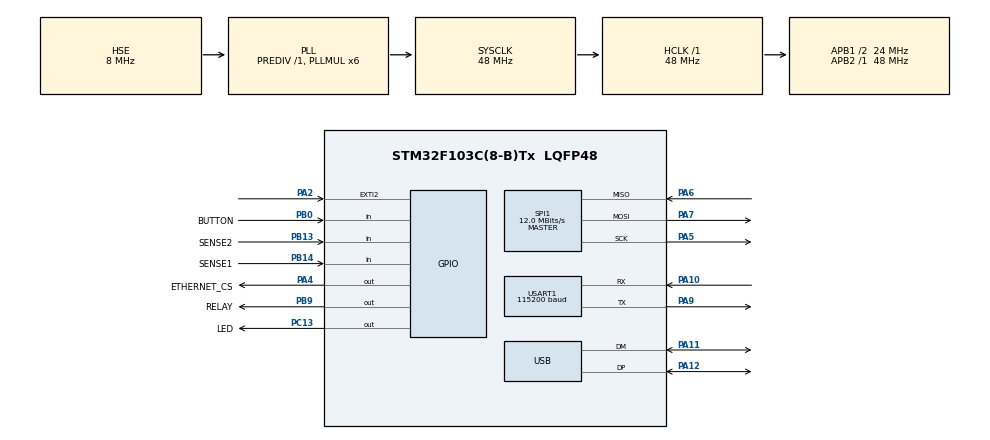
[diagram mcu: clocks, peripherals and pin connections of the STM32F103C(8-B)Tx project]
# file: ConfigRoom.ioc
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Mcu.Family=STM32F1
Mcu.Name=STM32F103C(8-B)Tx
Mcu.Package=LQFP48
NVIC.EXTI2_IRQn=true\:0\:0\:false\:false\:true\:true
NVIC.PriorityGroup=NVIC_PRIORITYGROUP_4
NVIC.TIM1_UP_IRQn=true\:0\:0\:false\:false\:true\:true
NVIC.TIM2_IRQn=true\:0\:0\:false\:false\:true\:true
NVIC.USART1_IRQn=true\:0\:0\:false\:false\:true\:true
NVIC.USB_LP_CAN1_RX0_IRQn=true\:0\:0\:false\:false\:true\:false
PA10.Mode=Asynchronous
PA10.Signal=USART1_RX
PA11.Mode=Device
PA11.Signal=USB_DM
PA12.Mode=Device
PA12.Signal=USB_DP
PA13.Mode=Serial_Wire
PA13.Signal=SYS_JTMS-SWDIO
PA14.Mode=Serial_Wire
PA14.Signal=SYS_JTCK-SWCLK
PA2.GPIO_ModeDefaultEXTI=GPIO_MODE_IT_FALLING
PA2.Signal=GPXTI2
PA4.GPIO_Label=ETHERNET_CS
PA4.GPIO_Speed=GPIO_SPEED_FREQ_MEDIUM
PA4.Signal=GPIO_Output
PA5.Mode=Full_Duplex_Master
PA5.Signal=SPI1_SCK
PA6.Mode=Full_Duplex_Master
PA6.Signal=SPI1_MISO
PA7.Mode=Full_Duplex_Master
PA7.Signal=SPI1_MOSI
PA9.Mode=Asynchronous
PA9.Signal=USART1_TX
PB0.GPIO_Label=BUTTON
PB0.GPIO_PuPd=GPIO_PULLUP
PB0.Signal=GPIO_Input
PB13.GPIO_Label=SENSE2
PB13.GPIO_PuPd=GPIO_PULLUP
PB13.Signal=GPIO_Input
PB14.GPIO_Label=SENSE1
PB14.GPIO_PuPd=GPIO_PULLUP
PB14.Signal=GPIO_Input
PB9.GPIO_Label=RELAY
PB9.Signal=GPIO_Output
PC13-TAMPER-RTC.GPIO_Label=LED
PC13-TAMPER-RTC.GPIO_Speed=GPIO_SPEED_FREQ_MEDIUM
PC13-TAMPER-RTC.Signal=GPIO_Output
PD0-OSC_IN.Mode=HSE-External-Oscillator
PD0-OSC_IN.Signal=RCC_OSC_IN
PD1-OSC_OUT.Mode=HSE-External-Oscillator
PD1-OSC_OUT.Signal=RCC_OSC_OUT
ProjectManager.HeapSize=0x200
ProjectManager.StackSize=0x400
ProjectManager.TargetToolchain=TrueSTUDIO
RCC.AHBFreq_Value=48000000
RCC.APB1CLKDivider=RCC_HCLK_DIV2
RCC.APB1Freq_Value=24000000
RCC.APB1TimFreq_Value=48000000
RCC.APB2CLKDivider=RCC_HCLK_DIV1
RCC.APB2Freq_Value=48000000
RCC.APB2TimFreq_Value=48000000
RCC.HCLKFreq_Value=48000000
RCC.OscillatorTypeHSI=RCC_OSCILLATORTYPE_HSI
RCC.PLLMUL=RCC_PLL_MUL6
RCC.PLLSourceVirtual=RCC_PLLSOURCE_HSE
RCC.SYSCLKFreq_VALUE=48000000
RCC.SYSCLKSource=RCC_SYSCLKSOURCE_PLLCLK
RCC.TimSys_Div=SYSTICK_CLKSOURCE_HCLK
RCC.USBFreq_Value=48000000
SPI1.BaudRatePrescaler=SPI_BAUDRATEPRESCALER_4
SPI1.CalculateBaudRate=12.0 MBits/s
SPI1.Direction=SPI_DIRECTION_2LINES
SPI1.Mode=SPI_MODE_MASTER
SPI1.VirtualType=VM_MASTER
TIM1.AutoReloadPreload=TIM_AUTORELOAD_PRELOAD_ENABLE
TIM1.Period=1000
TIM1.Prescaler=48000
TIM1.TIM_MasterOutputTrigger=TIM_TRGO_UPDATE
TIM2.Period=1000
TIM2.Prescaler=39999
TIM2.TIM_MasterOutputTrigger=TIM_TRGO_UPDATE
USART1.BaudRate=115200
USART1.VirtualMode=VM_ASYNC
USB_DEVICE.CLASS_NAME_FS=CDC
USB_DEVICE.VirtualMode=Cdc
USB_DEVICE.VirtualModeFS=Cdc_FS
VP_TIM1_VS_ClockSourceINT.Mode=Internal
VP_TIM2_VS_ClockSourceINT.Mode=Internal
VP_USB_DEVICE_VS_USB_DEVICE_CDC_FS.Mode=CDC_FS
board=ENC28J60_HTTPS

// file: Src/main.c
/**
  ******************************************************************************
  * @file           : main.c
  * @author         : SergikLutsk, dragosha2000@gmx.net
  ******************************************************************************
  *
  * ConfigRoom device
  *
  ******************************************************************************
  */
#include "main.h"
#include "stm32f1xx_hal.h"
#include "usb_device.h"

/* USER CODE BEGIN Includes */
#include "net.h"
#include "enc28j60.h"
#include "dhcp_client.h"
#include "dnslkup.h"
#include "ip_arp_udp_tcp.h"
#include "dnslkup.h"
#include "websrv_help_functions.h"
#include "pgmspace.h"
#include "eeprom.h"
#include "string.h"
#include "hex_utils.h"
/* USER CODE END Includes */

SPI_HandleTypeDef hspi1;

TIM_HandleTypeDef htim1;
TIM_HandleTypeDef htim2;

UART_HandleTypeDef huart1;

/* USER CODE BEGIN PV */
/* Private variables ---------------------------------------------------------*/
#ifdef DHCP
uint8_t rval=0;
static int8_t processing_state=0;
#endif
uint8_t ipaddr[4],gwip[4],dnsip[4],hisip[4],netmask[4],destip[4],mymac[6],destmac[6];
static uint8_t otherside_www_ip[4] = {10,10,0,100}; // will be filled by dnslkup

uint8_t flag[4];
#define flag_use_dhcp flag[0]
#define BUFFER_SIZE 1024
#define MAX_CNT 50
#define TRANS_NUM_GWMAC 1
#define WEBSERVER_VHOST "10.10.0.100"

uint16_t dat_p;
uint16_t p_len;
uint16_t cnt = MAX_CNT-1;
uint8_t lock_status_hw[2];
uint8_t lock_sens[2];
uint8_t sec=0;
uint8_t client_data_ready;
uint8_t net_buf[BUFFER_SIZE+1];
uint8_t gwmac[6];
uint8_t pingsrcip[4];
uint8_t dns_state=0;
uint8_t gw_arp_state=0;
uint8_t start_web_client=0;
uint8_t web_client_attempts=0;
uint8_t urlvarstr[21];// = {"/google.com"};
uint8_t web_client_sendok=0;
//uint8_t syn_ack_timeout;

// default IP data
const uint8_t IPADDR_[4] = {10,10,0,77};
const uint8_t MYMAC_[6] = {0x74,0x69,0x69,0x23,0x30,0x31};
const uint8_t  DESTADDR_[4] = {10,10,0,99};

const uint8_t FLAG_[4] = {0,0,0,0};
const char hoststr[] = {"10.10.0.1"}; //const char website[] PROGMEM = "api-conference-rooms.int-24.com";
const char http_header[] 	= {"HTTP/1.1 200 OK\r\nServer: stm32confroom\r\nContent-Type: text/html\r\nConnection: keep-alive\r\n\r\n"};
const char error_header[] 	= {"HTTP/1.1 404 File not found\r\nServer: stm32confroom\r\nContent-Type: text/html\r\nConnection: keep-alive\r\n\r\n"};
const char lock_on_html[] = {"HTTP/1.1 201 OK\r\nServer: stm32confroom\r\nContent-Type: text/html\r\nConnection: keep-alive\r\n\r\n"
							"<head><h1>LOCK ON</br></br></head>"};
const char lock_off_html[] = {"HTTP/1.1 202 OK\r\nServer: stm32confroom\r\nContent-Type: text/html\r\nConnection: keep-alive\r\n\r\n"
							"<head><h1>LOCK OFF</br></br></head>"};
const char dhcp_page_true[] = {"%s<p><h3><input name='use_dhcp' type='radio' value='0'> use STATIC</h3></p>"
        					   "<p><h3><input name='use_dhcp' type='radio' value='1' checked> use DHCP</h3></p>"
								"<p><input type='submit' value='SAVE'></p>"
								"</form>"
								"</html>"
								"\n\r\n\r"};
const char dhcp_page_false[] = {"%s<p><h3><input name='use_dhcp' type='radio' value='0' checked> use STATIC</h3></p>"
                				"<p><h3><input name='use_dhcp' type='radio' value='1'> use DHCP</h3></p>"
								"<p><input type='submit' value='SAVE'></p>"
								"</body>"
								"</form>"
                				"</html>"
                				"\n\r\n\r"};
const char home_page[] = {"HTTP/1.1 200 OK\r\nServer: nginx\r\nContent-Type: text/html\r\nConnection: keep-alive\r\n\r\n"
						"<form>"
						"<head><h1>ConferenceRoom v2.0 build:140419</br><h2>(c) MINT innovations, 2019</br></br></head>"
						"<body>"
						"<h3>IP:</h3>"
						"<p><input type='text' name='ip0' id='ip1' value='%03u' size=2"
						"<p><input type='text' name='ip1' id='ip2' value='%03u' size=2"
						"<p><input type='text' name='ip2' id='ip3' value='%03u' size=2"
						"<p><input type='text' name='ip3' id='ip4' value='%03u' size=2</p>"
						"<h3>MAC:</h3>"
						"<p><input type='text' name='mac0' id='mac1' value='%02X' size=2"
						"<p><input type='text' name='mac1' id='mac2' value='%02X' size=2"
						"<p><input type='text' name='mac2' id='mac3' value='%02X' size=2"
						"<p><input type='text' name='mac3' id='mac4' value='%02X' size=2"
						"<p><input type='text' name='mac4' id='mac5' value='%02X' size=2"
						"<p><input type='text' name='mac5' id='mac6' value='%02X' size=2</p>"
						"<h3>DEST IP:</h3>"
						"<p><input type='text' name='dip0' id='dip1' value='%03u' size=2"
						"<p><input type='text' name='dip1' id='dip2' value='%03u' size=2"
						"<p><input type='text' name='dip2' id='dip3' value='%03u' size=2"
						"<p><input type='text' name='dip3' id='dip4' value='%03u' size=2</p>"
						"<h3>lock_sens[]={%01u,%01u},lock_status_hw[]={%01u,%01u}</h3>"};
const char Write_page[] = {"HTTP/1.1 202 OK\r\nServer: stm32confroom\r\nContent-Type: text/html\r\nConnection: keep-alive\r\n\r\n"
							"<head><h1>New values stored in MCU memory.</h1>\r\n"
							"<h1>Hardware reset...</h1>\r\n\r\n</br></br></head>"};
/* USER CODE END PV */

void SystemClock_Config(void);
static void MX_GPIO_Init(void);
static void MX_SPI1_Init(void);
static void MX_USART1_UART_Init(void);
static void MX_TIM2_Init(void);
static void MX_TIM1_Init(void);

/* USER CODE BEGIN PFP */
/* Private function prototypes -----------------------------------------------*/
void browserresult_callback(uint16_t webstatuscode,uint16_t datapos __attribute__((unused)), uint16_t len __attribute__((unused)));
uint8_t findKeyVal (char* instr, char *strbuf, uint8_t maxlen, char *key);
void ReadConstantsFromEEP();
void WriteDefaultsToEEP(void);

void HardwareError (float error_num, char infinite) {
	if (infinite)
	while (1) {
		int i = 0;
		while (i++ < ((int)((float)(error_num) / 1) + 1) ) {
			GPIOC->BSRR = LED_Pin;
			HAL_Delay(1000 / error_num);
			GPIOC->BSRR = LED_Pin << 16;
			HAL_Delay(1000 / error_num);
		}
	};

	GPIOC->BSRR = LED_Pin;
	HAL_Delay(1000);
	GPIOC->BSRR = LED_Pin << 16;
	HAL_Delay(100);

	int i=0;
	while (i++ < error_num) {
		GPIOC->BSRR = LED_Pin;
		HAL_Delay(300);
		GPIOC->BSRR = LED_Pin << 16;
		HAL_Delay(200);
	}

	HAL_Delay(500);
	NVIC_SystemReset();

	return;
}

static inline void BlinkLed(int times, int delay) {
	int i = 0;

	while (i++ < times) {
		GPIOC->BSRR = LED_Pin;
		HAL_Delay(delay);
		GPIOC->BSRR = LED_Pin << 16;
		HAL_Delay(delay);
	}

	return;
}

void PrintIP(void) {
	char str[100];
	snprintf(str,sizeof(str),"my ip: %03u.%03u.%03u.%03u\n\r",ipaddr[0],ipaddr[1],ipaddr[2],ipaddr[3]);
	HAL_UART_Transmit(&huart1, (uint8_t*)str, strlen(str), 100);
	snprintf(str,sizeof(str),"dest ip: %03u.%03u.%03u.%03u\n\r",destip[0],destip[1],destip[2],destip[3]);
	HAL_UART_Transmit(&huart1, (uint8_t*)str, strlen(str), 100);
	snprintf(str,sizeof(str),"gw ip: %03u.%03u.%03u.%03u\n\r",gwip[0],gwip[1],gwip[2],gwip[3]);
	HAL_UART_Transmit(&huart1, (uint8_t*)str, strlen(str), 100);
	snprintf(str,sizeof(str),"netmask: %03u.%03u.%03u.%03u\n\r",netmask[0],netmask[1],netmask[2],netmask[3]);
	HAL_UART_Transmit(&huart1, (uint8_t*)str, strlen(str), 100);
}

void LockStatusRead() {
	lock_status_hw[0] = HAL_GPIO_ReadPin(SENSE1_GPIO_Port,SENSE1_Pin);
	lock_status_hw[1] = HAL_GPIO_ReadPin(SENSE2_GPIO_Port,SENSE2_Pin);
	lock_sens[0] = HAL_GPIO_ReadPin(SENSE1_GPIO_Port,SENSE1_Pin);
	lock_sens[1] = HAL_GPIO_ReadPin(SENSE1_GPIO_Port,SENSE1_Pin);
}

void EEpromCheckAndRead(void) {
	char str[30];
	uint32_t data_;

	EE_Read(EEP_CHECK_ADDR,&data_);
	if (data_!= CHECK_DATA) {
		snprintf(str,strlen(str),"EEPROM format and write defaults...\n\r");
		HAL_UART_Transmit(&huart1, (uint8_t*)str, strlen(str), 100);
		EE_Format();
		WriteDefaultsToEEP();
		EE_Write(EEP_CHECK_ADDR,CHECK_DATA);
	 } else {
		 ReadConstantsFromEEP();
	 }
}

void WriteDefaultsToEEP(void) {
	char str[30];
	union {
		uint32_t data32;
		unsigned char data4x8[4];
	} tmp;
	// MAC defaults sets...
	//
	tmp.data4x8[0] = MYMAC_[0];
	tmp.data4x8[1] = MYMAC_[1];
	tmp.data4x8[2] = MYMAC_[2];
	tmp.data4x8[3] = MYMAC_[3];
	EE_Write(EE_MYMAC1,tmp.data32 );
	tmp.data4x8[0] = MYMAC_[4];
	tmp.data4x8[1] = MYMAC_[5];
	tmp.data4x8[2] = 0;
	tmp.data4x8[3] = 0;
	EE_Write(EE_MYMAC2,tmp.data32);

	// IPs defaults sets...
	//
	EE_Write(EE_IPADDR,(uint32_t)(IPADDR_[0] | IPADDR_[1]<<8 | IPADDR_[2]<<16 | IPADDR_[3]<<24) );
	EE_Write(EE_DESTADDR,(uint32_t)(DESTADDR_[0] | DESTADDR_[1]<<8 | DESTADDR_[2]<<16 | DESTADDR_[3]<<24) );

	tmp.data4x8[0] = FLAG_[0];
	tmp.data4x8[1] = FLAG_[1];
	tmp.data4x8[2] = FLAG_[2];
	tmp.data4x8[3] = FLAG_[3];
	EE_Write(EE_FLAGSADDR,tmp.data32);

	snprintf(str,sizeof(str),"EEPROM write defaults OK.\n\r");
	HAL_UART_Transmit(&huart1, (uint8_t*)str, strlen(str), 100);

	ReadConstantsFromEEP();
}
void ReadConstantsFromEEP(void) {
	char str[30];
	uint32_t data_;
	union {
		uint32_t data32;
		unsigned char data4x8[4];
	} tmp;

	EE_Read(EE_IPADDR,&tmp.data32);
	ipaddr[0] = tmp.data4x8[0];
	ipaddr[1] = tmp.data4x8[1];
	ipaddr[2] = tmp.data4x8[2];
	ipaddr[3] = tmp.data4x8[3];

	EE_Read(EE_MYMAC1,&tmp.data32);
	mymac[0] = tmp.data4x8[0];
	mymac[1] = tmp.data4x8[1];
	mymac[2] = tmp.data4x8[2];
	mymac[3] = tmp.data4x8[3];
	EE_Read(EE_MYMAC2,&tmp.data32);
	mymac[4] = tmp.data4x8[0];
	mymac[5] = tmp.data4x8[1];

	EE_Read(EE_DESTADDR,&tmp.data32);
	gwip[0] = otherside_www_ip[0] = destip[0] = tmp.data4x8[0];
	gwip[1] = otherside_www_ip[1] = destip[1] = tmp.data4x8[1];
	gwip[2] = otherside_www_ip[2] = destip[2] = tmp.data4x8[2];
	gwip[3] = otherside_www_ip[3] = destip[3] = tmp.data4x8[3];

	EE_Read(EE_FLAGSADDR,&data_);
	flag_use_dhcp = data_ & 0xFF;
	flag[1] = data_>>8 & 0xFF;
	flag[2] = data_>>16 & 0xFF;
	flag[3] = data_>>24 & 0xFF;

	snprintf(str,sizeof(str),"FLAGS read OK.\n\r");
	HAL_UART_Transmit(&huart1, (uint8_t*)str, strlen(str), 100);
}

uint16_t http200ok(void) {

	return(fill_tcp_data(net_buf,0,"HTTP/1.0 200 OK\r\nContent-Type: text/html\r\nPragma: no-cache\r\n\r\n"));
}

uint16_t HomePage(void) {
  	char temp_str[TEMP_STR_MAX];

  	snprintf(temp_str, sizeof(temp_str),home_page,	ipaddr[0],ipaddr[1],ipaddr[2],ipaddr[3],mymac[0],mymac[1],mymac[2],mymac[3],mymac[4],mymac[5],
													destip[0],destip[1],destip[2],destip[3], lock_sens[0],lock_sens[1],lock_status_hw[0],lock_status_hw[1] );
	if (flag_use_dhcp == 1) snprintf (temp_str,sizeof(temp_str), dhcp_page_true,temp_str);
	else snprintf (temp_str,sizeof(temp_str), dhcp_page_false,temp_str);
	return(fill_tcp_data_p(net_buf,0, temp_str));
}

// we were ping-ed by somebody, store the ip of the ping sender
// and trigger an upload to http://tuxgraphics.org/cgi-bin/upld
// This is just for testing and demonstration purpose
void ping_callback(uint8_t *ip) {
	uint8_t i=0;

	if (start_web_client==0) { // trigger only first time in case we get many ping in a row:
		start_web_client=1;
        while(i<4) { // save IP from where the ping came:
        	pingsrcip[i]=ip[i];
            i++;
        }
    }
}

void browserresult_callback(uint16_t webstatuscode,uint16_t datapos __attribute__((unused)), uint16_t len __attribute__((unused))) {
	char str[100];

	if (webstatuscode==200) {
		web_client_sendok++;
		snprintf(str,sizeof(str),"200:OK\r\n");
		HAL_UART_Transmit(&huart1, (uint8_t*)str, strlen(str), 100);
    } else {
		web_client_sendok++;
		snprintf(str,sizeof(str),"Server response 404\r\n");
		HAL_UART_Transmit(&huart1, (uint8_t*)str, strlen(str), 100);
    }
}

void arpresolver_result_callback(uint8_t *ip ,uint8_t transaction_number,uint8_t *mac) {
    uint8_t i=0;

    if (transaction_number==TRANS_NUM_GWMAC)
    	while(i<6) {
    		gwmac[i]=mac[i];i++;
    	} // copy mac address over:
}

void net_poll() {
	char str[100];
	char keystr[10];
	uint8_t data;

	// 1-st task
	p_len=enc28j60PacketReceive(BUFFER_SIZE,net_buf);
	dat_p = packetloop_arp_icmp_tcp(net_buf,p_len);
	if (dat_p!=0) {
		snprintf(str,28,"/LOCK_OFF&%02X-%02X-%02X-%02X-%02X-%02X",mymac[0],mymac[1],mymac[2],mymac[3],mymac[4],mymac[5]);
	    char* index = strstr((char *)&(net_buf[dat_p]),str);

	    if (index>0) {
			lock_status_hw[0] = 0;
			HAL_GPIO_WritePin(RELAY_GPIO_Port,RELAY_Pin,RESET);
			snprintf(str,sizeof(str),"'/lock_off' received\n\r");
			HAL_UART_Transmit(&huart1, (uint8_t*)str, strlen(str), 100);
			dat_p = fill_tcp_data_p(net_buf,0, lock_off_html);
			www_server_reply(net_buf,dat_p); // send web page data
		}

		snprintf(str,29,"/LOCK_ON&%02X-%02X-%02X-%02X-%02X-%02X",mymac[0],mymac[1],mymac[2],mymac[3],mymac[4],mymac[5]);
		index = strstr((char *)&(net_buf[dat_p]),str);

		if (index >0) {
			lock_status_hw[0] = 1;
			HAL_GPIO_WritePin(RELAY_GPIO_Port,RELAY_Pin,SET);
			snprintf(str,sizeof(str),"'/lock_on' received\n\r");
			HAL_UART_Transmit(&huart1, (uint8_t*)str, strlen(str), 100);
			dat_p = fill_tcp_data_p(net_buf,0, lock_on_html);
			www_server_reply(net_buf,dat_p); // send web page data
		}
// check for receiving new values for change static ip, dest ip addreess
		if (strncmp((char *) & (net_buf[dat_p]),"GET /?",6)==0) {
			dat_p += 6;

			for (uint8_t x=0;x<4;x++) {
	    		snprintf(keystr,sizeof(keystr),"ip%X=",x);// KEY_IP[x];
	    		index = strstr((char *)&(net_buf[dat_p]),keystr);
	    		if (index>0) {
	    			dat_p+=4;
	    			data  =  dec2int_byte(&net_buf[dat_p] );
	    			ipaddr[x] = data;
	    			dat_p+=4;
	    		}
	    	}

			for (uint8_t x=0;x<6;x++) {
	    		snprintf(keystr,sizeof(keystr),"mac%X=",x);//
	    		index = strstr((char *)&(net_buf[dat_p]),keystr);
	    		if (index>0) {
	    			dat_p+=5;
	    			data  =  hex2int_byte((char *)&net_buf[dat_p] );
	    			mymac[x] = data;
	    			dat_p+=3;
	    		}
	    	}

			for (uint8_t x=0;x<4;x++) {
	    		snprintf(keystr,sizeof(keystr),"dip%X=",x);//
	    		index = strstr((char *)&(net_buf[dat_p]),keystr);
	    		if (index>0) {
	    			dat_p+=5;
	    			data  =  dec2int_byte(&net_buf[dat_p] );
	    			destip[x] = data;
	    			dat_p+=4;
	    		}
	    	}

    		snprintf(keystr,sizeof(keystr),"use_dhcp=");//
    		index = strstr((char *)&(net_buf[dat_p]),keystr);

    		if (index>0) flag_use_dhcp = net_buf[dat_p+9] - 0x30;

    		EE_Write(EE_IPADDR,(uint32_t)(ipaddr[0] | ipaddr[1]<<8 | ipaddr[2]<<16 | ipaddr[3]<<24) );
	    	EE_Write(EE_DESTADDR,(uint32_t)(destip[0] | destip[1]<<8 | destip[2]<<16 | destip[3]<<24) );
	    	union {
	    		uint32_t data32;
	    		unsigned char data4x8[4];
	    	} tmp;

	    	// MAC defaults sets...
	    	//
	    	tmp.data4x8[0] = mymac[0];
	    	tmp.data4x8[1] = mymac[1];
	    	tmp.data4x8[2] = mymac[2];
	    	tmp.data4x8[3] = mymac[3];
	    	EE_Write(EE_MYMAC1,tmp.data32 );

	    	tmp.data4x8[0] = mymac[4];
	    	tmp.data4x8[1] = mymac[5];
	    	tmp.data4x8[2] = 0;
	    	tmp.data4x8[3] = 0;
	    	EE_Write(EE_MYMAC2,tmp.data32);

	    	tmp.data4x8[0] = flag_use_dhcp;
	    	tmp.data4x8[1] = FLAG_[1];
	    	tmp.data4x8[2] = FLAG_[2];
	    	tmp.data4x8[3] = FLAG_[3];
	    	EE_Write(EE_FLAGSADDR,tmp.data32);

	    	snprintf(str,sizeof(str),"new ip address: %03u.%03u.%03u.%03u\n\r",ipaddr[0],ipaddr[1],ipaddr[2],ipaddr[3]);
	    	HAL_UART_Transmit(&huart1, (uint8_t*)str, strlen(str), 100);
	    	snprintf(str,sizeof(str),"new destip address: %03u.%03u.%03u.%03u\n\r",destip[0],destip[1],destip[2],destip[3]);
	    	HAL_UART_Transmit(&huart1, (uint8_t*)str, strlen(str), 100);
	    	snprintf(str,sizeof(str),"new mac address: %02X:%02X:%02X:%02X:%02X:%02X\n\r",mymac[0],mymac[1],mymac[2],mymac[3],mymac[4],mymac[5]);
	    	HAL_UART_Transmit(&huart1, (uint8_t*)str, strlen(str), 100);

	    	dat_p = fill_tcp_data(net_buf,0,Write_page);
			www_server_reply(net_buf,dat_p); // send web page data

			snprintf(str,sizeof(str),"softreset hardware...\n\r");

			HAL_UART_Transmit(&huart1, (uint8_t*)str, strlen(str), 100);
			NVIC_SystemReset();
		} else {
			dat_p = HomePage();
			www_server_reply(net_buf,dat_p); // send web page data
			snprintf(str,sizeof(str),"GET received\r\n");
			HAL_UART_Transmit(&huart1, (uint8_t*)str, strlen(str), 100);
		}
		dat_p = 0;
	}

	// second task - tcp client loop
	uint8_t i = enc28j60linkup();

	if (i >0) {
		if(p_len==0) {
			// we are idle here trigger arp and dns stuff here
			if (gw_arp_state==0) { // find the mac address of the gateway (e.g your dsl router).
                get_mac_with_arp(gwip,TRANS_NUM_GWMAC,&arpresolver_result_callback);
                gw_arp_state=1;
            }
            if (get_mac_with_arp_wait()==0 && gw_arp_state==1) gw_arp_state=2; // done we have the mac address of the GW
            if (dns_state==0 && gw_arp_state==2)
            	if (enc28j60linkup()) { // only for dnslkup_request we have to check if the link is up.
            		sec=0;
                    dns_state=1;
                    dnslkup_request(net_buf,WEBSERVER_VHOST,gwmac);
                }
            if (dns_state==1 && dnslkup_haveanswer()) {
            	dns_state=2;
            	dnslkup_get_ip(otherside_www_ip);
            }
            if (dns_state!=2)
            	if (sec > 60) { // retry every minute if dns-lookup failed:
                	dns_state=0;
                }
                // don't try to use web client before
                // we have a result of dns-lookup
                //continue;
            //----------
            if (start_web_client==1) {
            	sec=0;
                start_web_client=2;
                web_client_attempts++;
                mk_net_str(str,pingsrcip,4,'.',10);
                //urlencode(str,urlvarstr);
                //parse_ip(otherside_www_ip,WEBSERVER_VHOST);
                client_browse_url(PSTR("/"),(char*)urlvarstr,PSTR(WEBSERVER_VHOST),&browserresult_callback,otherside_www_ip,gwmac);
                snprintf(str,sizeof(str),"exec client_browse_url() function. Server response:\n\r");
                HAL_UART_Transmit(&huart1, (uint8_t*)str, strlen(str), 100);
            }
            if (sec>60 && start_web_client==2)	start_web_client=0; // reset after a delay to prevent permanent bouncing
        }
        if(dat_p==0) udp_client_check_for_dns_answer(net_buf,p_len);
	} else {
		snprintf(str,sizeof(str),"enc28j60 link is down :(\r\nResetting device...\n\r");
		HAL_UART_Transmit(&huart1, (uint8_t*)str, strlen(str), 100);
		NVIC_SystemReset();
	}
}
/* USER CODE END PFP */

int main(void)
{

  /* MCU Configuration----------------------------------------------------------*/

  /* Reset of all peripherals, Initializes the Flash interface and the Systick. */
  HAL_Init();

  /* USER CODE BEGIN Init */
  char str[100];
  /* USER CODE END Init */

  /* Configure the system clock */
  SystemClock_Config();

  /* Initialize all configured peripherals */
  MX_GPIO_Init();
  MX_SPI1_Init();
  MX_USART1_UART_Init();
  MX_TIM2_Init();
  MX_USB_DEVICE_Init();
  MX_TIM1_Init();
  /* USER CODE BEGIN 2 */

  if (HAL_GPIO_ReadPin(BUTTON_GPIO_Port,BUTTON_Pin)==0) WriteDefaultsToEEP();

  EEpromCheckAndRead();

  snprintf(str,sizeof(str),"EEPROM read OK.\n\r");
  HAL_UART_Transmit(&huart1, (uint8_t*)str, strlen(str), 100);

  enc28j60_set_spi(&hspi1);

  enc28j60Init(mymac);
  enc28j60clkout(2);

  if (enc28j60getrev()>0) { // check revision of the enc28j60 module
	  snprintf(str,sizeof(str),"enc28j60 hardware init ok.\n\renc28j60 module revision: %02X\n\r",enc28j60getrev());
	  HAL_UART_Transmit(&huart1, (uint8_t*)str, strlen(str), 100);
      enc28j60PhyWrite(PHLCON,0x476);
      snprintf(str,sizeof(str),"MAC: %02X:%02X:%02X:%02X:%02X:%02X\n\r",mymac[0],mymac[1],mymac[2],mymac[3],mymac[4],mymac[5]);
      HAL_UART_Transmit(&huart1, (uint8_t*)str, strlen(str), 100);
      if (flag_use_dhcp == 1) {
    	  rval=0;
    	  HAL_TIM_Base_Start(&htim1);
    	  HAL_TIM_Base_Start_IT(&htim1);
    	  init_mac(mymac);
    	  snprintf(str,sizeof(str),"- device use dhcp server, please wait for answer...\n\r");
    	  HAL_UART_Transmit(&huart1, (uint8_t*)str, strlen(str), 100);
    	  while(rval==0) {
    		  p_len=enc28j60PacketReceive(BUFFER_SIZE, net_buf);
    		  net_buf[BUFFER_SIZE]='\0';
    		  rval=packetloop_dhcp_initial_ip_assignment(net_buf,p_len,mymac[5]);
    	  }
    	  dhcp_get_my_ip(ipaddr,netmask,gwip); // we have an IP:
    	  client_ifconfig(ipaddr,netmask);
    	  if (gwip[0]==0) {
    		  snprintf(str,sizeof(str),"\n\r(FAILED)gateway is not returned from server :(\n\r");
    		  HAL_UART_Transmit(&huart1, (uint8_t*)str, strlen(str), 100);
    		  // we must have a gateway returned from the dhcp server
    		  // otherwise this code will not work
    		  while(1); // stop here
    	  } else {
        	  snprintf(str,sizeof(str),"dhcp server give:\n\r");
        	  HAL_UART_Transmit(&huart1, (uint8_t*)str, strlen(str), 100);
    		  PrintIP();
    	  }
    	  // we have a gateway.
    	  // find the mac address of the gateway (e.g your dsl router).
    	  get_mac_with_arp(gwip,TRANS_NUM_GWMAC,&arpresolver_result_callback);
    	  while(get_mac_with_arp_wait()) {
    		  // to process the ARP reply we must call the packetloop
    		  p_len=enc28j60PacketReceive(BUFFER_SIZE, net_buf);
    		  packetloop_arp_icmp_tcp(net_buf,p_len);
    	  }
    	  if (string_is_ipv4(WEBSERVER_VHOST)) {
    		  // the the webserver_vhost is not a domain name but alreay
    		  // an IP address written as sting
    		  parse_ip(otherside_www_ip,WEBSERVER_VHOST);
    		  processing_state=2; // no need to do any dns look-up
    	  }
      } else {
    	  snprintf(str,sizeof(str),"- device use static ip\n\r");
    	  HAL_UART_Transmit(&huart1, (uint8_t*)str, strlen(str), 100);
    	  PrintIP();
      }
      init_udp_or_www_server(mymac,ipaddr);
	  www_server_port(80);
  } else {
	  snprintf(str,sizeof(str),"(FAILED)enc28j60 hardware init false:(\n\rSoft reset hardware...\n\r");
	  HAL_UART_Transmit(&huart1, (uint8_t*)str, strlen(str), 100);
	  NVIC_SystemReset();
  }

  /* USER CODE END 2 */

  /* Infinite loop */
  /* USER CODE BEGIN WHILE */
  while (1) {
	  cnt++;
	  if (cnt>MAX_CNT) {
		  start_web_client = 1; // start browseUrl tcp...
		  cnt = 0;
	  }
	  net_poll();
  /* USER CODE END WHILE */

  }

}

void SystemClock_Config(void)
{

  RCC_OscInitTypeDef RCC_OscInitStruct;
  RCC_ClkInitTypeDef RCC_ClkInitStruct;
  RCC_PeriphCLKInitTypeDef PeriphClkInit;

    /**Initializes the CPU, AHB and APB busses clocks
    */
  RCC_OscInitStruct.OscillatorType = RCC_OSCILLATORTYPE_HSI|RCC_OSCILLATORTYPE_HSE;
  RCC_OscInitStruct.HSEState = RCC_HSE_ON;
  RCC_OscInitStruct.HSEPredivValue = RCC_HSE_PREDIV_DIV1;
  RCC_OscInitStruct.HSIState = RCC_HSI_ON;
  RCC_OscInitStruct.PLL.PLLState = RCC_PLL_ON;
  RCC_OscInitStruct.PLL.PLLSource = RCC_PLLSOURCE_HSE;
  RCC_OscInitStruct.PLL.PLLMUL = RCC_PLL_MUL6;
  if (HAL_RCC_OscConfig(&RCC_OscInitStruct) != HAL_OK)
  {
    _Error_Handler(__FILE__, __LINE__);
  }

    /**Initializes the CPU, AHB and APB busses clocks
    */
  RCC_ClkInitStruct.ClockType = RCC_CLOCKTYPE_HCLK|RCC_CLOCKTYPE_SYSCLK
                              |RCC_CLOCKTYPE_PCLK1|RCC_CLOCKTYPE_PCLK2;
  RCC_ClkInitStruct.SYSCLKSource = RCC_SYSCLKSOURCE_PLLCLK;
  RCC_ClkInitStruct.AHBCLKDivider = RCC_SYSCLK_DIV1;
  RCC_ClkInitStruct.APB1CLKDivider = RCC_HCLK_DIV2;
  RCC_ClkInitStruct.APB2CLKDivider = RCC_HCLK_DIV1;

  if (HAL_RCC_ClockConfig(&RCC_ClkInitStruct, FLASH_LATENCY_1) != HAL_OK)
  {
    _Error_Handler(__FILE__, __LINE__);
  }

  PeriphClkInit.PeriphClockSelection = RCC_PERIPHCLK_USB;
  PeriphClkInit.UsbClockSelection = RCC_USBCLKSOURCE_PLL;
  if (HAL_RCCEx_PeriphCLKConfig(&PeriphClkInit) != HAL_OK)
  {
    _Error_Handler(__FILE__, __LINE__);
  }

    /**Configure the Systick interrupt time
    */
  HAL_SYSTICK_Config(HAL_RCC_GetHCLKFreq()/1000);

    /**Configure the Systick
    */
  HAL_SYSTICK_CLKSourceConfig(SYSTICK_CLKSOURCE_HCLK);

  /* SysTick_IRQn interrupt configuration */
  HAL_NVIC_SetPriority(SysTick_IRQn, 0, 0);
}

/* SPI1 init function */
static void MX_SPI1_Init(void)
{

  /* SPI1 parameter configuration*/
  hspi1.Instance = SPI1;
  hspi1.Init.Mode = SPI_MODE_MASTER;
  hspi1.Init.Direction = SPI_DIRECTION_2LINES;
  hspi1.Init.DataSize = SPI_DATASIZE_8BIT;
  hspi1.Init.CLKPolarity = SPI_POLARITY_LOW;
  hspi1.Init.CLKPhase = SPI_PHASE_1EDGE;
  hspi1.Init.NSS = SPI_NSS_SOFT;
  hspi1.Init.BaudRatePrescaler = SPI_BAUDRATEPRESCALER_4;
  hspi1.Init.FirstBit = SPI_FIRSTBIT_MSB;
  hspi1.Init.TIMode = SPI_TIMODE_DISABLE;
  hspi1.Init.CRCCalculation = SPI_CRCCALCULATION_DISABLE;
  hspi1.Init.CRCPolynomial = 10;
  if (HAL_SPI_Init(&hspi1) != HAL_OK)
  {
    _Error_Handler(__FILE__, __LINE__);
  }

}

/* TIM1 init function */
static void MX_TIM1_Init(void)
{

  TIM_ClockConfigTypeDef sClockSourceConfig;
  TIM_MasterConfigTypeDef sMasterConfig;

  htim1.Instance = TIM1;
  htim1.Init.Prescaler = 48000;
  htim1.Init.CounterMode = TIM_COUNTERMODE_UP;
  htim1.Init.Period = 1000;
  htim1.Init.ClockDivision = TIM_CLOCKDIVISION_DIV1;
  htim1.Init.RepetitionCounter = 0;
  htim1.Init.AutoReloadPreload = TIM_AUTORELOAD_PRELOAD_ENABLE;
  if (HAL_TIM_Base_Init(&htim1) != HAL_OK)
  {
    _Error_Handler(__FILE__, __LINE__);
  }

  sClockSourceConfig.ClockSource = TIM_CLOCKSOURCE_INTERNAL;
  if (HAL_TIM_ConfigClockSource(&htim1, &sClockSourceConfig) != HAL_OK)
  {
    _Error_Handler(__FILE__, __LINE__);
  }

  sMasterConfig.MasterOutputTrigger = TIM_TRGO_UPDATE;
  sMasterConfig.MasterSlaveMode = TIM_MASTERSLAVEMODE_DISABLE;
  if (HAL_TIMEx_MasterConfigSynchronization(&htim1, &sMasterConfig) != HAL_OK)
  {
    _Error_Handler(__FILE__, __LINE__);
  }

}

/* TIM2 init function */
static void MX_TIM2_Init(void)
{

  TIM_ClockConfigTypeDef sClockSourceConfig;
  TIM_MasterConfigTypeDef sMasterConfig;

  htim2.Instance = TIM2;
  htim2.Init.Prescaler = 39999;
  htim2.Init.CounterMode = TIM_COUNTERMODE_UP;
  htim2.Init.Period = 1000;
  htim2.Init.ClockDivision = TIM_CLOCKDIVISION_DIV1;
  htim2.Init.AutoReloadPreload = TIM_AUTORELOAD_PRELOAD_DISABLE;
  if (HAL_TIM_Base_Init(&htim2) != HAL_OK)
  {
    _Error_Handler(__FILE__, __LINE__);
  }

  sClockSourceConfig.ClockSource = TIM_CLOCKSOURCE_INTERNAL;
  if (HAL_TIM_ConfigClockSource(&htim2, &sClockSourceConfig) != HAL_OK)
  {
    _Error_Handler(__FILE__, __LINE__);
  }

  sMasterConfig.MasterOutputTrigger = TIM_TRGO_UPDATE;
  sMasterConfig.MasterSlaveMode = TIM_MASTERSLAVEMODE_DISABLE;
  if (HAL_TIMEx_MasterConfigSynchronization(&htim2, &sMasterConfig) != HAL_OK)
  {
    _Error_Handler(__FILE__, __LINE__);
  }

}

/* USART1 init function */
static void MX_USART1_UART_Init(void)
{

  huart1.Instance = USART1;
  huart1.Init.BaudRate = 115200;
  huart1.Init.WordLength = UART_WORDLENGTH_8B;
  huart1.Init.StopBits = UART_STOPBITS_1;
  huart1.Init.Parity = UART_PARITY_NONE;
  huart1.Init.Mode = UART_MODE_TX_RX;
  huart1.Init.HwFlowCtl = UART_HWCONTROL_NONE;
  huart1.Init.OverSampling = UART_OVERSAMPLING_16;
  if (HAL_UART_Init(&huart1) != HAL_OK)
  {
    _Error_Handler(__FILE__, __LINE__);
  }

}

/** Configure pins as
        * Analog
        * Input
        * Output
        * EVENT_OUT
        * EXTI
*/
static void MX_GPIO_Init(void)
{

  GPIO_InitTypeDef GPIO_InitStruct;

  /* GPIO Ports Clock Enable */
  __HAL_RCC_GPIOC_CLK_ENABLE();
  __HAL_RCC_GPIOD_CLK_ENABLE();
  __HAL_RCC_GPIOA_CLK_ENABLE();
  __HAL_RCC_GPIOB_CLK_ENABLE();

  /*Configure GPIO pin Output Level */
  HAL_GPIO_WritePin(LED_GPIO_Port, LED_Pin, GPIO_PIN_RESET);

  /*Configure GPIO pin Output Level */
  HAL_GPIO_WritePin(ETHERNET_CS_GPIO_Port, ETHERNET_CS_Pin, GPIO_PIN_RESET);

  /*Configure GPIO pin Output Level */
  HAL_GPIO_WritePin(RELAY_GPIO_Port, RELAY_Pin, GPIO_PIN_RESET);

  /*Configure GPIO pin : LED_Pin */
  GPIO_InitStruct.Pin = LED_Pin;
  GPIO_InitStruct.Mode = GPIO_MODE_OUTPUT_PP;
  GPIO_InitStruct.Pull = GPIO_NOPULL;
  GPIO_InitStruct.Speed = GPIO_SPEED_FREQ_MEDIUM;
  HAL_GPIO_Init(LED_GPIO_Port, &GPIO_InitStruct);

  /*Configure GPIO pin : PA2 */
  GPIO_InitStruct.Pin = GPIO_PIN_2;
  GPIO_InitStruct.Mode = GPIO_MODE_IT_FALLING;
  GPIO_InitStruct.Pull = GPIO_NOPULL;
  HAL_GPIO_Init(GPIOA, &GPIO_InitStruct);

  /*Configure GPIO pin : ETHERNET_CS_Pin */
  GPIO_InitStruct.Pin = ETHERNET_CS_Pin;
  GPIO_InitStruct.Mode = GPIO_MODE_OUTPUT_PP;
  GPIO_InitStruct.Pull = GPIO_NOPULL;
  GPIO_InitStruct.Speed = GPIO_SPEED_FREQ_MEDIUM;
  HAL_GPIO_Init(ETHERNET_CS_GPIO_Port, &GPIO_InitStruct);

  /*Configure GPIO pins : BUTTON_Pin SENSE2_Pin SENSE1_Pin */
  GPIO_InitStruct.Pin = BUTTON_Pin|SENSE2_Pin|SENSE1_Pin;
  GPIO_InitStruct.Mode = GPIO_MODE_INPUT;
  GPIO_InitStruct.Pull = GPIO_PULLUP;
  HAL_GPIO_Init(GPIOB, &GPIO_InitStruct);

  /*Configure GPIO pin : RELAY_Pin */
  GPIO_InitStruct.Pin = RELAY_Pin;
  GPIO_InitStruct.Mode = GPIO_MODE_OUTPUT_PP;
  GPIO_InitStruct.Pull = GPIO_NOPULL;
  GPIO_InitStruct.Speed = GPIO_SPEED_FREQ_LOW;
  HAL_GPIO_Init(RELAY_GPIO_Port, &GPIO_InitStruct);

  /* EXTI interrupt init*/
  HAL_NVIC_SetPriority(EXTI2_IRQn, 0, 0);
  HAL_NVIC_EnableIRQ(EXTI2_IRQn);

}

/* USER CODE BEGIN 4 */
void HAL_GPIO_EXTI_Callback(uint16_t GPIO_Pin) {
	  if(GPIO_Pin== GPIO_PIN_2) {
		  client_data_ready = 1;//    net_poll();
	  } else __NOP();
}

/*
uint8_t StringToHex(String ss)
{
  char *str; //  = new char[sizeof(ss)+1];
  strtol(ss.c_str(), &str, 16);
}
*/
uint8_t findKeyVal (char *instr, char *strbuf, uint8_t maxlen, char *key) {
	uint8_t found=0;
	uint8_t i=0;
	const char *kp;

	kp=key;
	while(*instr &&  *instr!=' ' && *instr!='\n' && found==0) {
		if (*instr == *kp) {
			kp++;
			if (*kp == '\0') {
				instr++;
				kp=key;
				if (*instr == '=') found=1;
			}
		} else kp=key;
		instr++;
	}

	if (found==1) {
	    // copy the value to a buffer and terminate it with '\0'
		while(*instr &&  *instr!=' ' && *instr!='\n' && *instr!='&' && i<maxlen-1) {
			*strbuf=*instr;
			i++;
			instr++;
			strbuf++;
		}
		*strbuf='\0';
	}
	return(i);
}

uint16_t getIntArg(char* data, char* key, int value) {
    char temp[10];

    value =-1;
    if (findKeyVal(data + 7, temp, sizeof temp, key) > 0) value = atoi(temp);
    return value;
}

/* USER CODE END 4 */

void _Error_Handler(char *file, int line)
{
  while(1)
  {
  }
}

/************************ (C) COPYRIGHT STMicroelectronics *****END OF FILE****/
